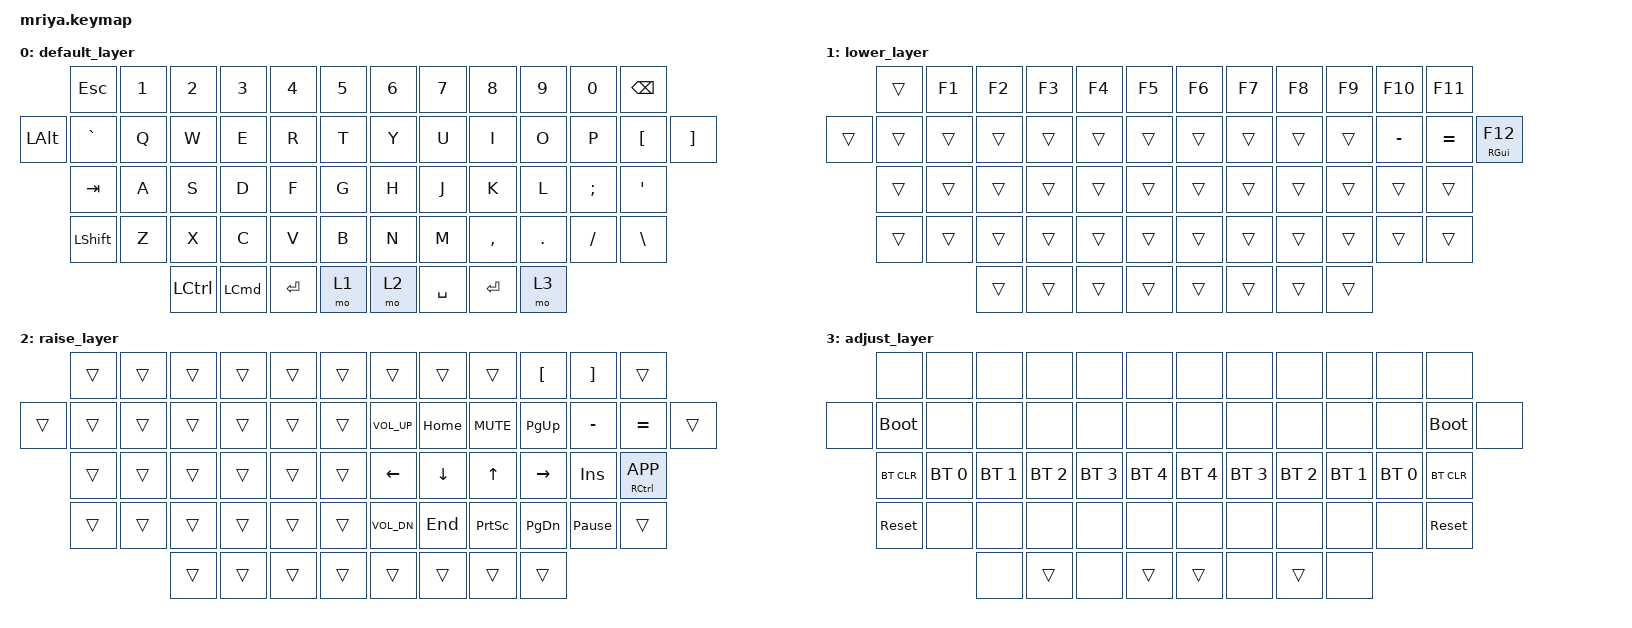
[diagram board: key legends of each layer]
/*
 * Copyright (c) 2023 Andrei Gaevskii
 *
 * SPDX-License-Identifier: MIT
 */

#include <behaviors.dtsi>
#include <dt-bindings/zmk/bt.h>
#include <dt-bindings/zmk/keys.h>

#define DEF 0
#define LWR 1
#define RSE 2
#define ADJ 3

&lt { quick_tap_ms = <200>; };

&mt { quick_tap_ms = <200>; };

/ {
    keymap {
        compatible = "zmk,keymap";

        default_layer {
            bindings = <
              &kp ESC         &kp N1  &kp N2     &kp N3            &kp N4     &kp N5    &kp N6  &kp N7     &kp N8     &kp N9   &kp N0     &kp BACKSPACE
&kp LEFT_ALT  &kp GRAVE       &kp Q   &kp W      &kp E             &kp R      &kp T     &kp Y   &kp U      &kp I      &kp O    &kp P      &kp LBKT          &kp RIGHT_BRACKET
              &kp TAB         &kp A   &kp S      &kp D             &kp F      &kp G     &kp H   &kp J      &kp K      &kp L    &kp SEMI   &kp SINGLE_QUOTE
              &kp LEFT_SHIFT  &kp Z   &kp X      &kp C             &kp V      &kp B     &kp N   &kp M      &kp COMMA  &kp DOT  &kp SLASH  &kp BACKSLASH
                                      &kp LCTRL  &kp LEFT_COMMAND  &kp ENTER  &mo 1     &mo 2   &kp SPACE  &kp ENTER  &mo 3
            >;
        };

        lower_layer {
            bindings = <
        &trans  &kp F1  &kp F2  &kp F3  &kp F4  &kp F5    &kp F6  &kp F7  &kp F8  &kp F9  &kp F10    &kp F11
&trans  &trans  &trans  &trans  &trans  &trans  &trans    &trans  &trans  &trans  &trans  &kp MINUS  &kp EQUAL  &mt RGUI F12
        &trans  &trans  &trans  &trans  &trans  &trans    &trans  &trans  &trans  &trans  &trans     &trans
        &trans  &trans  &trans  &trans  &trans  &trans    &trans  &trans  &trans  &trans  &trans     &trans
                        &trans  &trans  &trans  &trans    &trans  &trans  &trans  &trans
            >;
        };

        raise_layer {
            bindings = <
        &trans  &trans  &trans  &trans  &trans  &trans    &trans        &trans    &trans           &kp LEFT_BRACKET  &kp RIGHT_BRACKET  &trans
&trans  &trans  &trans  &trans  &trans  &trans  &trans    &kp C_VOL_UP  &kp HOME  &kp C_MUTE       &kp PG_UP         &kp MINUS          &kp EQUAL        &trans
        &trans  &trans  &trans  &trans  &trans  &trans    &kp LEFT      &kp DOWN  &kp UP           &kp RIGHT         &kp INS            &mt RCTRL K_APP
        &trans  &trans  &trans  &trans  &trans  &trans    &kp C_VOL_DN  &kp END   &kp PRINTSCREEN  &kp PG_DN         &kp PAUSE_BREAK    &trans
                        &trans  &trans  &trans  &trans    &trans        &trans    &trans           &trans
            >;
        };

        adjust_layer {
            bindings = <
       &none        &none         &none         &none         &none         &none           &none         &none         &none         &none         &none         &none
&none  &bootloader  &none         &none         &none         &none         &none           &none         &none         &none         &none         &none         &bootloader  &none
       &bt BT_CLR   &bt BT_SEL 0  &bt BT_SEL 1  &bt BT_SEL 2  &bt BT_SEL 3  &bt BT_SEL 4    &bt BT_SEL 4  &bt BT_SEL 3  &bt BT_SEL 2  &bt BT_SEL 1  &bt BT_SEL 0  &bt BT_CLR
       &sys_reset   &none         &none         &none         &none         &none           &none         &none         &none         &none         &none         &sys_reset
                                  &none         &trans        &none         &trans          &trans        &none         &trans        &none
            >;
        };
    };
};
